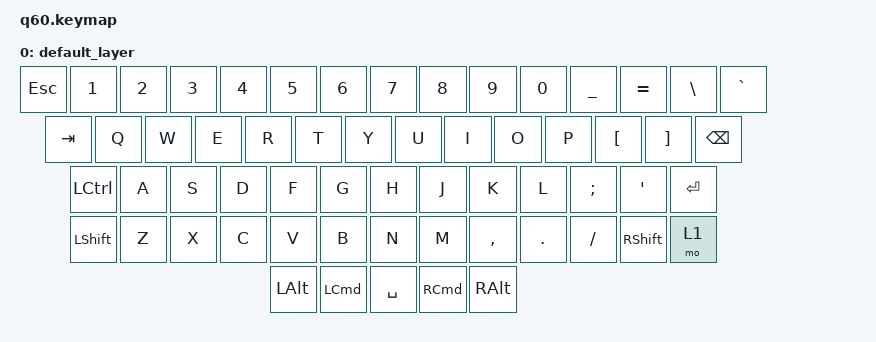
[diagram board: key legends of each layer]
#include <behaviors.dtsi>
#include <dt-bindings/zmk/keys.h>

/ {
    keymap {
        compatible = "zmk,keymap";

        default_layer {

        // |Esc    |1      |2      |3      |4      |5      |6      |7      |8      |9      |0       |UNDER   |EQUAL   |BSLH|GRAVE |
        // |TAB      |Q      |W      |E      |R      |T      |Y      |U      |I      |O      |P       |LBKT    |RBKT       |BSPC  |         
        // |LCTRL      |A      |S      |D      |F      |G      |H      |J      |K      |L      |SEMI    |SQT              |ENTER  |
        // |LSHFT    |Z      |X      |C      |V      |B      |N      |M      |COMMA  |PERIOD    |FSLH     |RSHFT   |FN |
        // |LALT     |LCMD   |                                   SPACE                   |RCMD     |RALT|
            bindings = <
    &kp ESC    &kp 1    &kp 2    &kp 3     &kp 4   &kp 5   &kp 6    &kp 7  &kp 8   &kp 9   &kp 0    &kp UNDER &kp EQUAL &kp BSLH &kp GRAVE
    &kp TAB    &kp Q    &kp W    &kp E     &kp R     &kp T   &kp Y   &kp U   &kp I   &kp O   &kp P  &kp LBKT &kp RBKT &kp BSPC 
    &kp LCTRL    &kp A    &kp S    &kp D     &kp F     &kp G   &kp H   &kp J   &kp K  &kp L   &kp SEMI &kp SQT &kp ENTER
    &kp LSHIFT &kp Z    &kp X    &kp C     &kp V     &kp B      &kp N &kp M  &kp COMMA &kp PERIOD &kp FSLH  &kp RSHFT &mo 1
               &kp LALT  &kp LCMD               &kp SPACE &kp RCMD &kp RALT
            >;
        };
    };
};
